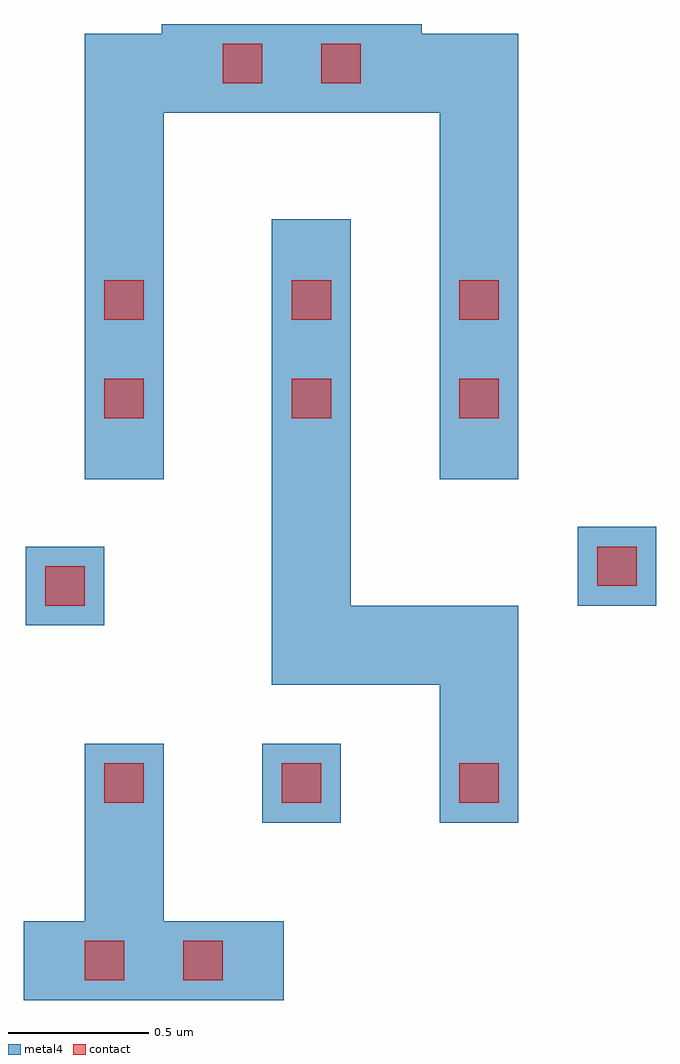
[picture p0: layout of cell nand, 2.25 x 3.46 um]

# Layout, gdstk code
import gdstk
lib = gdstk.Library(unit=1e-6, precision=1e-09)
def R(c, l, rs):  # rectangles x0, y0, x1, y1
    for r in rs: c.add(gdstk.rectangle(r[:2], r[2:], *l))
def A(c, l, x, y, w, h, nx, ny, dx, dy):  # array of equal rectangles
    R(c, l, [(x+i*dx, y+j*dy, x+i*dx+w, y+j*dy+h) for i in range(nx) for j in range(ny)])
def P(c, l, *ps):  # polygons
    for p in ps: c.add(gdstk.Polygon(p, *l))
contact = (25, 0)
metal4 = (49, 0)

nand = lib.new_cell('nand')
A(nand, contact, -1.855, -0.84, 0.14, 0.14, 3, 1, 0.63, 0)
R(nand, contact, [(-1.925,-1.47,-1.785,-1.33), (-1.575,-1.47,-1.435,-1.33), (-2.065,-0.14,-1.925,0), (-0.105,-0.07,0.035,0.07), (-1.855,0.525,-1.715,0.665), (-1.19,0.525,-1.05,0.665), (-0.595,0.525,-0.455,0.665), (-1.855,0.875,-1.715,1.015), (-1.19,0.875,-1.05,1.015), (-0.595,0.875,-0.455,1.015), (-1.435,1.715,-1.295,1.855), (-1.085,1.715,-0.945,1.855)])
R(nand, metal4, [(-1.295,-0.91,-1.015,-0.63), (-2.135,-0.21,-1.855,0.07), (-0.175,-0.14,0.105,0.14)])
P(nand, metal4, [(-1.218,-1.26),(-1.645,-1.26),(-1.645,-0.63),(-1.925,-0.63),(-1.925,-1.26),(-2.142,-1.26),(-2.142,-1.54),(-1.218,-1.54)],
  [(-0.385,-0.14),(-0.98,-0.14),(-0.98,1.232),(-1.26,1.232),(-1.26,-0.42),(-0.665,-0.42),(-0.665,-0.91),(-0.385,-0.91)],
  [(-0.665,0.308),(-0.385,0.308),(-0.385,1.89),(-0.728,1.89),(-0.728,1.925),(-1.652,1.925),(-1.652,1.89),(-1.925,1.89),(-1.925,0.308),(-1.645,0.308),(-1.645,1.61),(-0.665,1.61)])

lib.write_gds('nand.gds')
